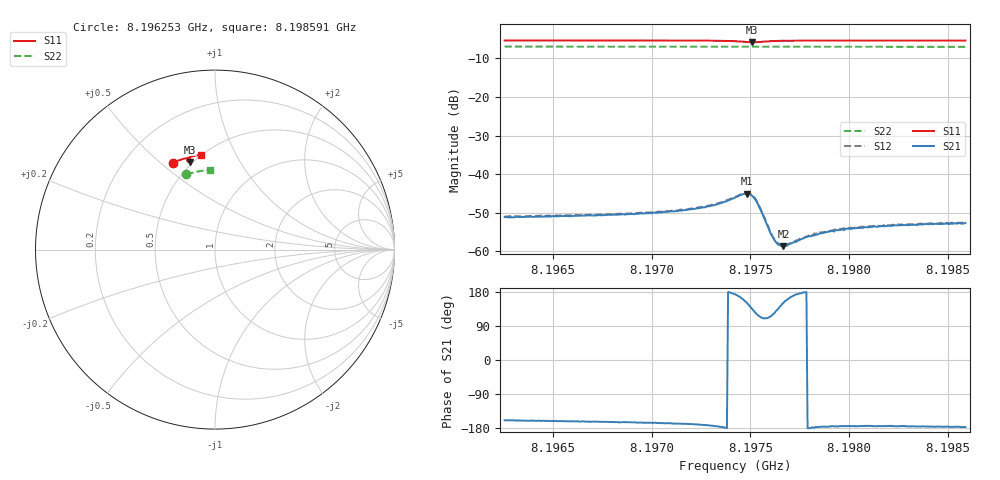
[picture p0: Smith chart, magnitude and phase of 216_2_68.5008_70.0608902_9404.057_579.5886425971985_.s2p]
#  HZ  S  RI  R  50.00
! Rohde & Schwarz Vector Network Analyzer
! Rohde-Schwarz,ZNB20-2Port,1311601062101988,3.16
! Created: UTC 3/20/2024, 5:13:21 PM
! freq[Hz]  re:S11  im:S11  re:S21  im:S21  re:S12  im:S12  re:S22  im:S22
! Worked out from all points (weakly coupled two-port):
!   401 points, 8.196253 GHz to 8.198591 GHz, reference 50 ohm
!   highest |S21| = -45.03 dB at 8.19748 GHz (marker M1); lowest = -58.6 dB at 8.197667 GHz (marker M2)
!   lowest |S11| = -5.9 dB at 8.19751 GHz (marker M3), VSWR 3.07, Z = 24.1 + j31.7 ohm
!   |S11| at or under -10 dB: nowhere
!   |S22| runs from -7.1 to -7.0 dB; largest |S21 - S12| = 0.00028
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8.1962533e9  -0.2314 0.4843  -0.00261 -0.000993  -0.00265 -0.000912  -0.1588 0.4186
8.1966448e9  -0.2052 0.4955  -0.00276 -0.000891  -0.00285 -0.000763  -0.1377 0.4252
8.1970363e9  -0.1777 0.5052  -0.00311 -0.000763  -0.00322 -0.000634  -0.1165 0.4307
8.1971707e9  -0.1671 0.508  -0.00335 -0.000684  -0.00345 -0.000547  -0.1091 0.4324
8.1972759e9  -0.1578 0.5096  -0.00374 -0.000555  -0.00384 -0.00039  -0.1034 0.4337
8.197346e9  -0.1503 0.5098  -0.00418 -0.000248  -0.00426 -0.00012  -0.0993 0.4345
8.197422e9  -0.1402 0.5062  -0.00494 0.000588  -0.00501 0.0008  -0.0949 0.4352
8.1974804e9  -0.1358 0.4946  -0.00494 0.00265  -0.00493 0.0029  -0.0917 0.4355
8.1975096e9  -0.1417 0.4881  -0.00366 0.00375  -0.00358 0.00399  -0.0904 0.4355
8.1975213e9  -0.1454 0.4874  -0.00291 0.00383  -0.00283 0.00404  -0.0898 0.4356
8.1975388e9  -0.1505 0.4893  -0.00194 0.00358  -0.00177 0.00377  -0.0891 0.4358
8.1975973e9  -0.1545 0.502  -0.000728 0.0017  -0.000664 0.00176  -0.0859 0.4367
8.1976206e9  -0.1527 0.5056  -0.000767 0.00119  -0.000727 0.00125  -0.0846 0.4371
8.197644e9  -0.1503 0.5082  -0.000894 0.000821  -0.000883 0.000901  -0.0833 0.4373
8.1976674e9  -0.1481 0.5104  -0.00102 0.000581  -0.00101 0.000622  -0.082 0.4375
8.1976966e9  -0.1452 0.5124  -0.00118 0.000364  -0.00118 0.000429  -0.0802 0.4378
8.1977842e9  -0.1373 0.5162  -0.00154 1.68e-05  -0.00156 8.4e-05  -0.0752 0.4387
8.1978135e9  -0.1347 0.5172  -0.00161 -5.53e-05  -0.00164 5.34e-06  -0.0737 0.4388
8.1978953e9  -0.1281 0.5193  -0.0018 -0.00014  -0.00183 -7.6e-05  -0.069 0.4395
8.1979946e9  -0.1202 0.5213  -0.00195 -0.000201  -0.00199 -9.55e-05  -0.0634 0.4402
8.198205e9  -0.1047 0.5247  -0.00214 -0.000209  -0.00217 -9.71e-05  -0.0515 0.4413
8.1985906e9  -0.077 0.5291  -0.00233 -0.000125  -0.00236 -2.51e-05  -0.0297 0.4427
